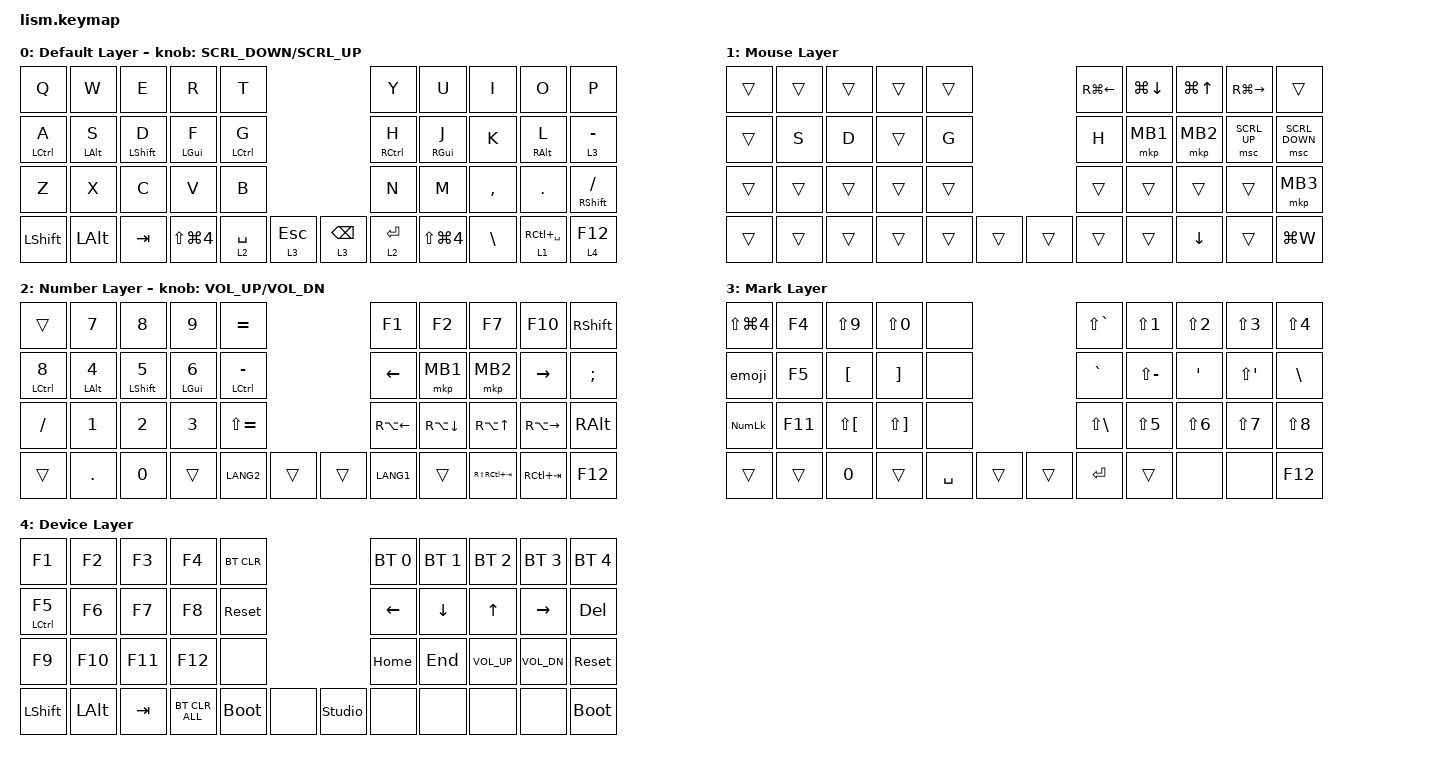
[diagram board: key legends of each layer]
#define ZMK_POINTING_DEFAULT_SCRL_VAL 200

#include <behaviors.dtsi>
#include <dt-bindings/zmk/bt.h>
#include <dt-bindings/zmk/keys.h>
#include <dt-bindings/zmk/pointing.h>
#include <dt-bindings/zmk/mouse.h>

&mt {
    tapping-term-ms = <200>;
    flavor = "balanced";
};

&lt {
    quick-tap-ms = <300>;
};


/ {
    macros {
        emoji: emoji_macro {
            compatible = "zmk,behavior-macro";
            label = "EMOJI";
            #binding-cells = <0>;
            bindings = 
                <&macro_press &kp CAPSLOCK>,
                <&macro_tap &kp E>,
                <&macro_release &kp CAPSLOCK>;
        };
    };

    behaviors {
        encoder_msc: sensor_rotate_msc {
            compatible = "zmk,behavior-sensor-rotate-var";
            #sensor-binding-cells = <2>;
            bindings = <&msc>, <&msc>;
            tap-ms = <20>;
        };

        encoder_kp: sensor_rotate_kp {
            compatible = "zmk,behavior-sensor-rotate-var";
            #sensor-binding-cells = <2>;
            bindings = <&kp>, <&kp>;
        };
    };

    keymap {
        compatible = "zmk,keymap";

        default_layer {
            display-name = "Default Layer";
            bindings = <
                &kp Q            &kp W              &kp E                 &kp R                   &kp T                                                  &kp Y        &kp U            &kp I              &kp O               &kp P
                &mt LCTRL A      &mt LALT S         &mt LSHIFT D          &mt LGUI F              &mt LCTRL G                                            &mt RCTRL H  &mt RGUI J       &kp K              &mt RALT L          &lt 3 MINUS
                &kp Z            &kp X              &kp C                 &kp V                   &kp B                                                  &kp N        &kp M            &kp COMMA          &kp DOT             &mt RSHIFT SLASH
                &kp LSHIFT       &kp LALT           &kp TAB               &kp LS(LG(N4))          &lt 2 SPACE       &lt 3 ESC           &lt 3 BACKSPACE  &lt 2 ENTER  &kp LS(LG(N4))   &kp BACKSLASH      &lt 1 RC(SPACE)     &lt 4 F12
            >;
            sensor-bindings = <&encoder_msc SCRL_DOWN SCRL_UP>;
        };

        layer_1 {
            display-name = "Mouse Layer";
            bindings = <
                &trans           &trans             &trans                &trans                  &trans                                                 &kp RG(LEFT) &kp LG(DOWN)     &kp LG(UP)         &kp RG(RIGHT)       &trans
                &trans           &kp S              &kp D                 &trans                  &kp G                                                  &kp H        &mkp MB1         &mkp MB2           &msc SCRL_UP        &msc SCRL_DOWN
                &trans           &trans             &trans                &trans                  &trans                                                 &trans       &trans           &trans             &trans              &mkp MB3
                &trans           &trans             &trans                &trans                  &trans            &trans              &trans           &trans       &trans           &kp DOWN           &trans              &kp LG(W)
            >;
        };

        layer_2 {
            display-name = "Number Layer";
            bindings = <
                &trans           &kp NUMBER_7       &kp NUMBER_8          &kp NUMBER_9            &kp EQUAL                                              &kp F1       &kp F2           &kp F7             &kp F10             &kp RSHIFT
                &mt LCTRL NUMBER_8 &mt LALT NUMBER_4 &mt LSHIFT NUMBER_5  &mt LGUI NUMBER_6       &mt LCTRL MINUS                                        &kp LEFT     &mkp MB1         &mkp MB2           &kp RIGHT           &kp SEMICOLON
                &kp SLASH        &kp NUMBER_1       &kp NUMBER_2          &kp NUMBER_3            &kp LS(EQUAL)                                          &kp RA(LEFT) &kp RA(DOWN)     &kp RA(UP)         &kp RA(RIGHT)       &kp RALT
                &trans           &kp DOT            &kp NUMBER_0          &trans                  &kp LANG2         &trans              &trans           &kp LANG1    &trans           &kp RS(RC(TAB))    &kp RC(TAB)         &kp F12
            >;
            sensor-bindings = <&encoder_kp C_VOL_UP C_VOL_DN>;
        };

        layer_3 {
            display-name = "Mark Layer";
            bindings = <
                &kp LS(LG(N4))   &kp F4             &kp LS(N9)            &kp LS(N0)              &none                                                  &kp LS(GRAVE) &kp LS(N1)      &kp LS(N2)         &kp LS(N3)          &kp LS(N4)
                &emoji           &kp F5             &kp LBKT              &kp RBKT                &none                                                  &kp GRAVE    &kp LS(MINUS)    &kp SQT            &kp LS(SQT)         &kp BSLH
                &kp KP_NUMLOCK   &kp F11            &kp LS(LBKT)          &kp LS(RBKT)            &none                                                  &kp LS(BSLH) &kp LS(N5)       &kp LS(N6)         &kp LS(N7)          &kp LS(N8)
                &trans           &trans             &kp NUMBER_0          &trans                  &kp SPACE         &trans              &trans           &kp ENTER    &trans           &none              &none               &kp F12
            >;
        };

        layer_4 {
            display-name = "Device Layer";
            bindings = <
                &kp F1           &kp F2             &kp F3                &kp F4                  &bt BT_CLR                                             &bt BT_SEL 0 &bt BT_SEL 1     &bt BT_SEL 2       &bt BT_SEL 3        &bt BT_SEL 4
                &mt LCTRL F5     &kp F6             &kp F7                &kp F8                  &sys_reset                                             &kp LEFT     &kp DOWN         &kp UP             &kp RIGHT           &kp DELETE
                &kp F9           &kp F10            &kp F11               &kp F12                 &none                                                  &kp HOME     &kp END          &kp C_VOL_UP       &kp C_VOL_DN        &sys_reset
                &kp LSHIFT       &kp LALT           &kp TAB               &bt BT_CLR_ALL          &bootloader       &none               &studio_unlock   &none        &none            &none              &none               &bootloader
            >;
        };

        layer_5 {
            status = "reserved";
            display-name = "Brank Layer";
            bindings = <
                &trans           &trans             &trans                &trans                  &trans                                                 &trans       &trans           &trans             &trans              &trans
                &trans           &trans             &trans                &trans                  &trans                                                 &trans       &trans           &trans             &trans              &trans
                &trans           &trans             &trans                &trans                  &trans                                                 &trans       &trans           &trans             &trans              &trans
                &trans           &trans             &trans                &trans                  &trans            &trans              &trans           &trans       &trans           &trans             &trans              &trans
            >;
        };

        layer_6 {
            status = "reserved";
            display-name = "Brank Layer";
            bindings = <
                &trans           &trans             &trans                &trans                  &trans                                                 &trans       &trans           &trans             &trans              &trans
                &trans           &trans             &trans                &trans                  &trans                                                 &trans       &trans           &trans             &trans              &trans
                &trans           &trans             &trans                &trans                  &trans                                                 &trans       &trans           &trans             &trans              &trans
                &trans           &trans             &trans                &trans                  &trans            &trans              &trans           &trans       &trans           &trans             &trans              &trans
            >;
        };

        layer_7 {
            status = "reserved";
            display-name = "Brank Layer";
            bindings = <
                &trans           &trans             &trans                &trans                  &trans                                                 &trans       &trans           &trans             &trans              &trans
                &trans           &trans             &trans                &trans                  &trans                                                 &trans       &trans           &trans             &trans              &trans
                &trans           &trans             &trans                &trans                  &trans                                                 &trans       &trans           &trans             &trans              &trans
                &trans           &trans             &trans                &trans                  &trans            &trans              &trans           &trans       &trans           &trans             &trans              &trans
            >;
        };
    };
};
